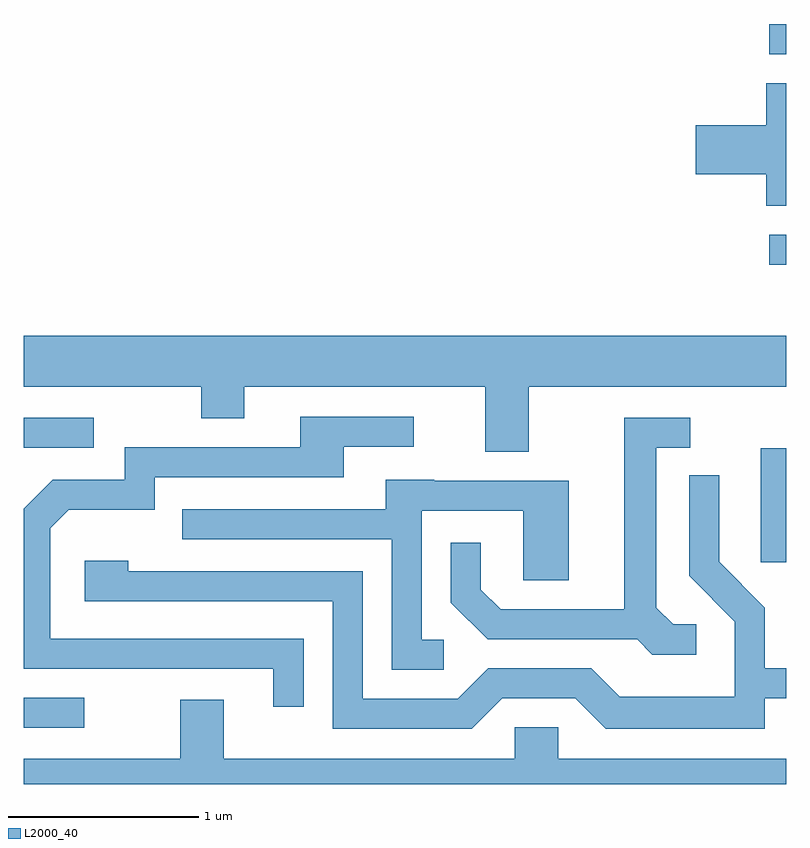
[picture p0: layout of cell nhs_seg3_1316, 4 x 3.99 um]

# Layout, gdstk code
import gdstk
lib = gdstk.Library(unit=1e-6, precision=1e-09)
def R(c, l, rs):  # rectangles x0, y0, x1, y1
    for r in rs: c.add(gdstk.rectangle(r[:2], r[2:], *l))
def P(c, l, *ps):  # polygons
    for p in ps: c.add(gdstk.Polygon(p, *l))
L2000_40 = (2000, 40)

nhs_seg3_1316 = lib.new_cell('nhs_seg3_1316')
R(nhs_seg3_1316, L2000_40, [(223.611,1164.186,223.928,1164.344), (227.476,1165.056,227.611,1165.654), (223.611,1165.656,223.978,1165.814), (227.523,1166.616,227.611,1166.774), (227.523,1167.721,227.611,1167.879)])
P(nhs_seg3_1316, L2000_40, [(227.611,1167.569),(227.506,1167.569),(227.506,1167.349),(227.136,1167.349),(227.136,1167.091),(227.506,1167.091),(227.506,1166.926),(227.611,1166.926)],
  [(226.259,1165.976),(227.611,1165.976),(227.611,1166.244),(223.611,1166.244),(223.611,1165.976),(224.541,1165.976),(224.541,1165.811),(224.769,1165.811),(224.769,1165.976),(226.031,1165.976),(226.031,1165.636),(226.259,1165.636)],
  [(225.079,1164.654),(223.749,1164.654),(223.749,1165.234),(223.847,1165.331),(224.299,1165.331),(224.299,1165.501),(225.289,1165.501),(225.289,1165.661),(225.658,1165.661),(225.658,1165.819),(225.061,1165.819),(225.061,1165.659),(224.141,1165.659),(224.141,1165.489),(223.764,1165.489),(223.611,1165.337),(223.611,1164.496),(224.921,1164.496),(224.921,1164.298),(225.079,1164.298)],
  [(227.138,1164.729),(227.017,1164.729),(226.929,1164.817),(226.929,1165.656),(227.108,1165.656),(227.108,1165.814),(226.761,1165.814),(226.761,1164.809),(226.112,1164.809),(226.009,1164.912),(226.009,1165.158),(225.851,1165.158),(225.851,1164.844),(226.044,1164.651),(226.829,1164.651),(226.909,1164.571),(227.138,1164.571)],
  [(226.122,1164.341),(226.504,1164.341),(226.664,1164.181),(227.499,1164.181),(227.499,1164.341),(227.611,1164.341),(227.611,1164.499),(227.499,1164.499),(227.499,1164.817),(227.259,1165.057),(227.259,1165.513),(227.101,1165.513),(227.101,1164.984),(227.341,1164.744),(227.341,1164.349),(226.737,1164.349),(226.587,1164.499),(226.049,1164.499),(225.889,1164.339),(225.389,1164.339),(225.389,1165.009),(224.159,1165.009),(224.159,1165.064),(223.931,1165.064),(223.931,1164.851),(225.231,1164.851),(225.231,1164.181),(225.962,1164.181)],
  [(225.813,1164.649),(225.699,1164.649),(225.699,1165.326),(226.231,1165.326),(226.231,1164.961),(226.469,1164.961),(226.469,1165.484),(225.765,1165.484),(225.765,1165.489),(225.511,1165.489),(225.511,1165.334),(224.443,1165.334),(224.443,1165.176),(225.541,1165.176),(225.541,1164.491),(225.813,1164.491)],
  [(227.611,1164.024),(226.414,1164.024),(226.414,1164.189),(226.186,1164.189),(226.186,1164.024),(224.659,1164.024),(224.659,1164.334),(224.431,1164.334),(224.431,1164.024),(223.611,1164.024),(223.611,1163.892),(227.611,1163.892)])

lib.write_gds('nhs_seg3_1316.gds')
